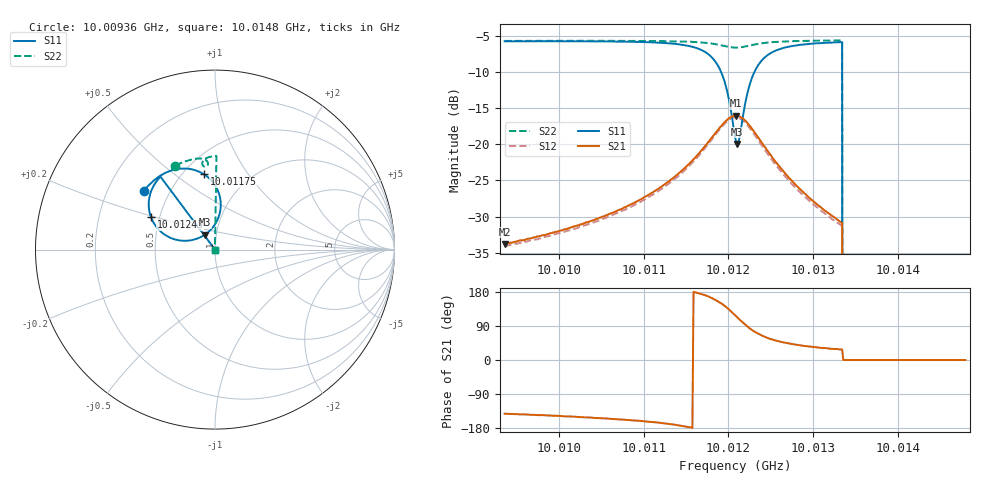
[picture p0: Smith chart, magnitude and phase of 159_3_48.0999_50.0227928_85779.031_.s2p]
#  HZ  S  RI  R  50.00
! Rohde & Schwarz Vector Network Analyzer
! Rohde-Schwarz,ZNB20-2Port,1311601062101988,3.16
! Created: UTC 12/23/2023, 3:50:34 AM
! freq[Hz]  re:S11  im:S11  re:S21  im:S21  re:S12  im:S12  re:S22  im:S22
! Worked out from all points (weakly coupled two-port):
!   401 points, 10.00936 GHz to 10.0148 GHz, reference 50 ohm
!   highest |S21| = -16.06 dB at 10.01209 GHz (marker M1); lowest = -33.8 dB at 10.00936 GHz (marker M2)
!   lowest |S11| = -20.0 dB at 10.0121 GHz (marker M3), VSWR 1.22, Z = 44.1 + j7.45 ohm
!   |S11| at or under -10 dB: 10.01191 GHz to 10.01231 GHz (395.1 kHz wide, 0.00395 % of centre); 10.01334 GHz to end of sweep
!   |S22| runs from - to -5.7 dB; largest |S21 - S12| = 0.0079
!   S11 on the Smith chart (normalised r, x): 10.00936 GHz: 0.36, +0.32; 10.01175 GHz: 0.63, +0.64; 10.01243 GHz: 0.45, +0.19; 10.0148 GHz: 1.00, +0.00
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1.0009355e10  -0.398 0.3259  -0.016 -0.0127  -0.0149 -0.0131  -0.2201 0.4685
1.0010267e10  -0.343 0.383  -0.0246 -0.0136  -0.0229 -0.0143  -0.1639 0.492
1.0011179e10  -0.2432 0.4408  -0.0479 -0.0126  -0.0456 -0.0142  -0.1005 0.5069
1.0011506e10  -0.1654 0.4518  -0.0702 -0.00479  -0.0676 -0.00833  -0.0732 0.5069
1.0011751e10  -0.061 0.4193  -0.0996 0.0199  -0.0974 0.0142  -0.0501 0.4983
1.001186e10  -0.00236 0.3621  -0.1125 0.0481  -0.1117 0.041  -0.0415 0.4884
1.0011941e10  0.029 0.2846  -0.1144 0.0795  -0.1151 0.0724  -0.0391 0.4776
1.0011996e10  0.0293 0.2157  -0.1064 0.1052  -0.108 0.0981  -0.0412 0.4699
1.0012077e10  -0.0235 0.1108  -0.0746 0.1387  -0.0781 0.1321  -0.0508 0.4624
1.0012091e10  -0.039 0.0962  -0.0671 0.1425  -0.0709 0.1361  -0.0531 0.4618
1.0012105e10  -0.0558 0.0836  -0.0597 0.1455  -0.0635 0.1393  -0.0551 0.462
1.0012132e10  -0.0925 0.0639  -0.0443 0.1491  -0.048 0.1434  -0.0594 0.4627
1.0012213e10  -0.2053 0.0526  -0.000284 0.1426  -0.00477 0.1375  -0.0687 0.4705
1.0012268e10  -0.2665 0.0749  0.0211 0.1288  0.0161 0.1247  -0.071 0.4779
1.0012336e10  -0.3194 0.1176  0.0369 0.1087  0.0316 0.1054  -0.0702 0.4873
1.0012431e10  -0.3563 0.1797  0.0463 0.0834  0.0412 0.0813  -0.0645 0.4976
1.0012676e10  -0.3655 0.291  0.044 0.0441  0.0401 0.044  -0.044 0.5117
1.0012989e10  -0.3377 0.3626  0.0336 0.0234  0.0308 0.0238  -0.0183 0.5186
1.0013316e10  -0.3066 0.404  0.0258 0.0138  0.024 0.0143  0.00615 0.5212
1.0013384e10  0 0  0 0  0 0  0 0
1.0013901e10  0 0  0 0  0 0  0 0
1.0014799e10  0 0  0 0  0 0  0 0
